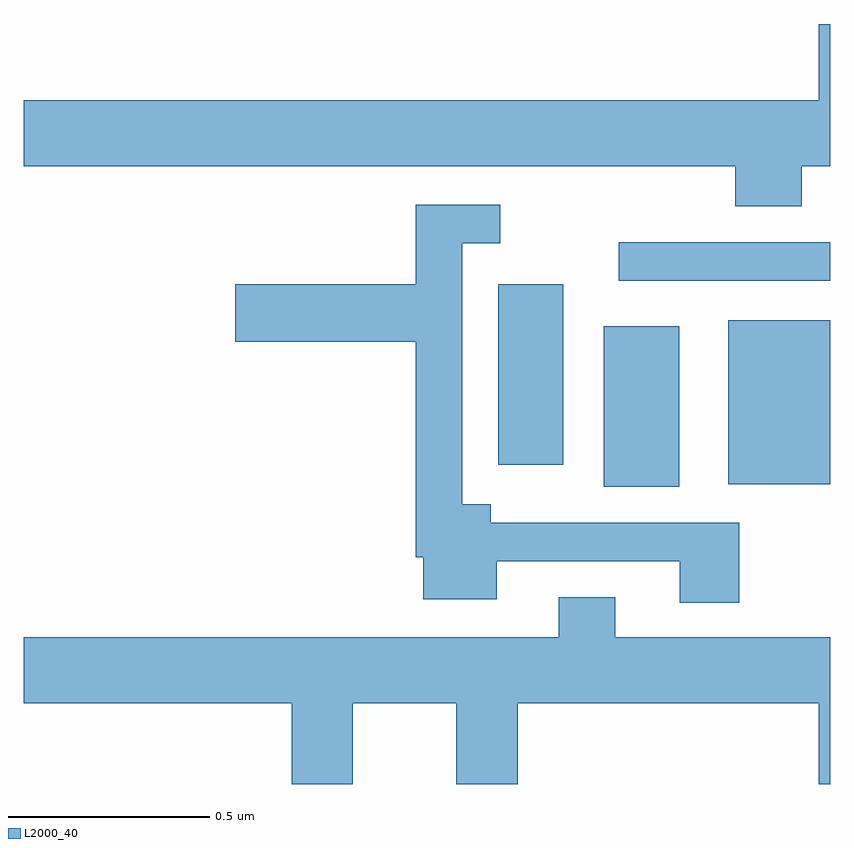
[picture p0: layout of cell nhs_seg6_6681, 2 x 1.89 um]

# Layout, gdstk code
import gdstk
lib = gdstk.Library(unit=1e-6, precision=1e-09)
def R(c, l, rs):  # rectangles x0, y0, x1, y1
    for r in rs: c.add(gdstk.rectangle(r[:2], r[2:], *l))
def P(c, l, *ps):  # polygons
    for p in ps: c.add(gdstk.Polygon(p, *l))
L2000_40 = (2000, 40)

nhs_seg6_6681 = lib.new_cell('nhs_seg6_6681')
R(nhs_seg6_6681, L2000_40, [(200.438,917.237,200.626,917.635), (200.747,917.243,201,917.65), (200.177,917.292,200.338,917.74), (200.475,917.748,201,917.844)])
P(nhs_seg6_6681, L2000_40, [(200.93,918.032),(201,918.032),(201,918.385),(200.972,918.385),(200.972,918.196),(199,918.196),(199,918.032),(200.765,918.032),(200.765,917.933),(200.93,917.933)],
  [(200.775,917.148),(200.158,917.148),(200.158,917.194),(200.088,917.194),(200.088,917.841),(200.182,917.841),(200.182,917.937),(199.972,917.937),(199.972,917.739),(199.524,917.739),(199.524,917.597),(199.972,917.597),(199.972,917.062),(199.991,917.062),(199.991,916.958),(200.173,916.958),(200.173,917.052),(200.627,917.052),(200.627,916.95),(200.775,916.95)],
  [(199.816,916.7),(200.072,916.7),(200.072,916.5),(200.225,916.5),(200.225,916.7),(200.972,916.7),(200.972,916.5),(201,916.5),(201,916.864),(200.467,916.864),(200.467,916.963),(200.327,916.963),(200.327,916.864),(199,916.864),(199,916.7),(199.664,916.7),(199.664,916.5),(199.816,916.5)])

lib.write_gds('nhs_seg6_6681.gds')
